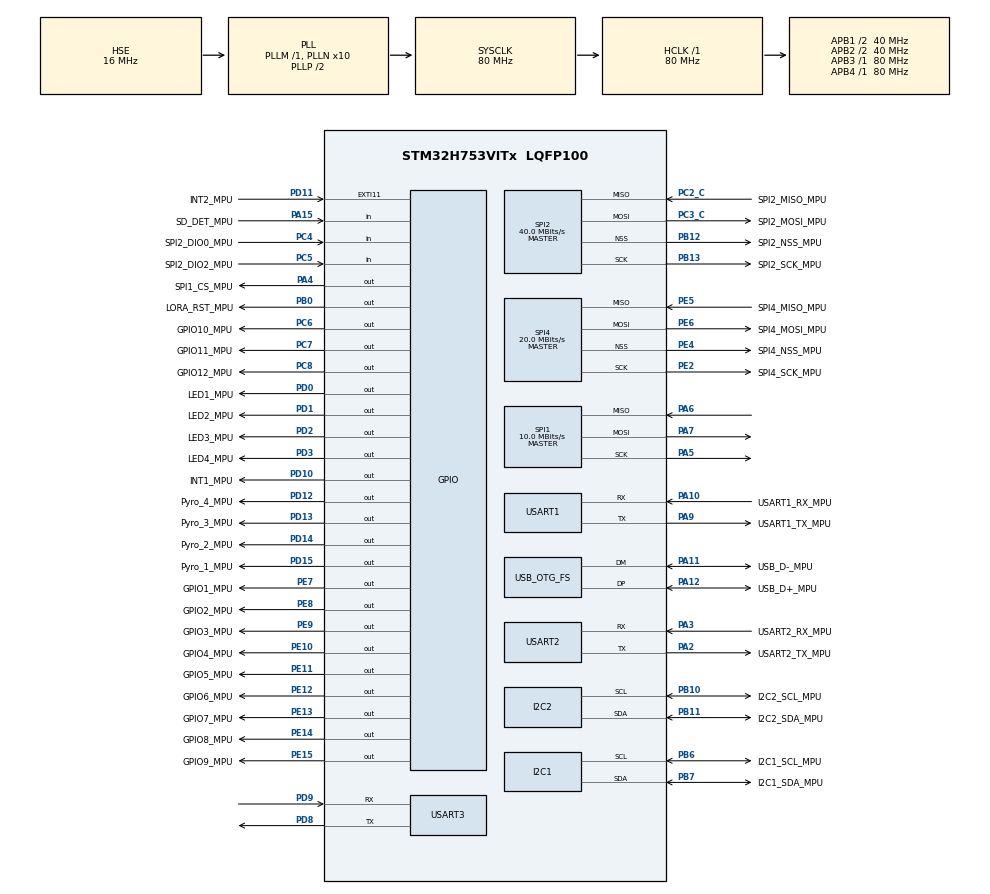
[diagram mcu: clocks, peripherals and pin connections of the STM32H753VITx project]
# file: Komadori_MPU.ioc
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CORTEX_M7.default_mode_Activation=1
I2C1.Timing=0x00909BEB
I2C2.Timing=0x00909BEB
Mcu.Family=STM32H7
Mcu.Name=STM32H753VITx
Mcu.Package=LQFP100
NVIC.OTG_FS_IRQn=true\:0\:0\:false\:false\:true\:false\:true\:true
NVIC.PriorityGroup=NVIC_PRIORITYGROUP_4
PA10.GPIO_Label=USART1_RX_MPU
PA10.Mode=Asynchronous
PA10.Signal=USART1_RX
PA11.GPIO_Label=USB_D-_MPU
PA11.Mode=Device_Only
PA11.Signal=USB_OTG_FS_DM
PA12.GPIO_Label=USB_D+_MPU
PA12.Mode=Device_Only
PA12.Signal=USB_OTG_FS_DP
PA13\ (JTMS/SWDIO).GPIO_Label=SWDIO_MPU
PA13\ (JTMS/SWDIO).Mode=Serial_Wire
PA13\ (JTMS/SWDIO).Signal=DEBUG_JTMS-SWDIO
PA14\ (JTCK/SWCLK).GPIO_Label=SWCLK_MPU
PA14\ (JTCK/SWCLK).Mode=Serial_Wire
PA14\ (JTCK/SWCLK).Signal=DEBUG_JTCK-SWCLK
PA15\ (JTDI).GPIO_Label=SD_DET_MPU
PA15\ (JTDI).Signal=GPIO_Input
PA2.GPIO_Label=USART2_TX_MPU
PA2.Mode=Asynchronous
PA2.Signal=USART2_TX
PA3.GPIO_Label=USART2_RX_MPU
PA3.Mode=Asynchronous
PA3.Signal=USART2_RX
PA4.GPIO_Label=SPI1_CS_MPU
PA4.PinState=GPIO_PIN_SET
PA4.Signal=GPIO_Output
PA5.GPIO_Mode=GPIO_MODE_AF_PP
PA5.GPIO_PuPd=GPIO_NOPULL
PA5.GPIO_Speed=GPIO_SPEED_FREQ_LOW
PA5.Mode=Full_Duplex_Master
PA5.Signal=SPI1_SCK
PA6.GPIO_Mode=GPIO_MODE_AF_PP
PA6.GPIO_PuPd=GPIO_NOPULL
PA6.GPIO_Speed=GPIO_SPEED_FREQ_LOW
PA6.Mode=Full_Duplex_Master
PA6.Signal=SPI1_MISO
PA7.GPIO_Mode=GPIO_MODE_AF_PP
PA7.GPIO_PuPd=GPIO_NOPULL
PA7.GPIO_Speed=GPIO_SPEED_FREQ_LOW
PA7.Mode=Full_Duplex_Master
PA7.Signal=SPI1_MOSI
PA9.GPIO_Label=USART1_TX_MPU
PA9.Mode=Asynchronous
PA9.Signal=USART1_TX
PB0.GPIO_Label=LORA_RST_MPU
PB0.Signal=GPIO_Output
PB10.GPIO_Label=I2C2_SCL_MPU
PB10.Mode=I2C
PB10.Signal=I2C2_SCL
PB11.GPIO_Label=I2C2_SDA_MPU
PB11.Mode=I2C
PB11.Signal=I2C2_SDA
PB12.GPIO_Label=SPI2_NSS_MPU
PB12.Mode=NSS_Signal_Hard_Output
PB12.Signal=SPI2_NSS
PB13.GPIO_Label=SPI2_SCK_MPU
PB13.Mode=Full_Duplex_Master
PB13.Signal=SPI2_SCK
PB6.GPIO_Label=I2C1_SCL_MPU
PB6.Mode=I2C
PB6.Signal=I2C1_SCL
PB7.GPIO_Label=I2C1_SDA_MPU
PB7.Mode=I2C
PB7.Signal=I2C1_SDA
PC2_C.GPIO_Label=SPI2_MISO_MPU
PC2_C.Mode=Full_Duplex_Master
PC2_C.Signal=SPI2_MISO
PC3_C.GPIO_Label=SPI2_MOSI_MPU
PC3_C.Mode=Full_Duplex_Master
PC3_C.Signal=SPI2_MOSI
PC4.GPIO_Label=SPI2_DIO0_MPU
PC4.Signal=GPIO_Input
PC5.GPIO_Label=SPI2_DIO2_MPU
PC5.Signal=GPIO_Input
PC6.GPIO_Label=GPIO10_MPU
PC6.Signal=GPIO_Output
PC7.GPIO_Label=GPIO11_MPU
PC7.Signal=GPIO_Output
PC8.GPIO_Label=GPIO12_MPU
PC8.Signal=GPIO_Output
PD0.GPIO_Label=LED1_MPU
PD0.Signal=GPIO_Output
PD1.GPIO_Label=LED2_MPU
PD1.Signal=GPIO_Output
PD10.GPIO_Label=INT1_MPU
PD10.Signal=GPIO_Output
PD11.GPIO_Label=INT2_MPU
PD11.Signal=GPXTI11
PD12.GPIO_Label=Pyro_4_MPU
PD12.Signal=GPIO_Output
PD13.GPIO_Label=Pyro_3_MPU
PD13.Signal=GPIO_Output
PD14.GPIO_Label=Pyro_2_MPU
PD14.Signal=GPIO_Output
PD15.GPIO_Label=Pyro_1_MPU
PD15.Signal=GPIO_Output
PD2.GPIO_Label=LED3_MPU
PD2.Signal=GPIO_Output
PD3.GPIO_Label=LED4_MPU
PD3.Signal=GPIO_Output
PD8.Mode=Asynchronous
PD8.Signal=USART3_TX
PD9.Mode=Asynchronous
PD9.Signal=USART3_RX
PE10.GPIO_Label=GPIO4_MPU
PE10.Signal=GPIO_Output
PE11.GPIO_Label=GPIO5_MPU
PE11.Signal=GPIO_Output
PE12.GPIO_Label=GPIO6_MPU
PE12.Signal=GPIO_Output
PE13.GPIO_Label=GPIO7_MPU
PE13.Signal=GPIO_Output
PE14.GPIO_Label=GPIO8_MPU
PE14.Signal=GPIO_Output
PE15.GPIO_Label=GPIO9_MPU
PE15.Signal=GPIO_Output
PE2.GPIO_Label=SPI4_SCK_MPU
PE2.Mode=Full_Duplex_Master
PE2.Signal=SPI4_SCK
PE4.GPIO_Label=SPI4_NSS_MPU
PE4.Mode=NSS_Signal_Hard_Output
PE4.Signal=SPI4_NSS
PE5.GPIO_Label=SPI4_MISO_MPU
PE5.Mode=Full_Duplex_Master
PE5.Signal=SPI4_MISO
PE6.GPIO_Label=SPI4_MOSI_MPU
PE6.Mode=Full_Duplex_Master
PE6.Signal=SPI4_MOSI
PE7.GPIO_Label=GPIO1_MPU
PE7.Signal=GPIO_Output
PE8.GPIO_Label=GPIO2_MPU
PE8.Signal=GPIO_Output
PE9.GPIO_Label=GPIO3_MPU
PE9.Signal=GPIO_Output
PH0-OSC_IN\ (PH0).GPIO_Label=HSE_IN_MPU
PH0-OSC_IN\ (PH0).Mode=HSE-External-Oscillator
PH0-OSC_IN\ (PH0).Signal=RCC_OSC_IN
PH1-OSC_OUT\ (PH1).GPIO_Label=HSE_OUT_MPU
PH1-OSC_OUT\ (PH1).Mode=HSE-External-Oscillator
PH1-OSC_OUT\ (PH1).Signal=RCC_OSC_OUT
ProjectManager.HeapSize=0x200
ProjectManager.StackSize=0x400
ProjectManager.TargetToolchain=STM32CubeIDE
RCC.ADCFreq_Value=32250000
RCC.APB1Freq_Value=40000000
RCC.APB2Freq_Value=40000000
RCC.APB3Freq_Value=80000000
RCC.APB4Freq_Value=80000000
RCC.CortexFreq_Value=80000000
RCC.D2PPRE1=RCC_APB1_DIV2
RCC.D2PPRE2=RCC_APB2_DIV2
RCC.DIVM1=1
RCC.DIVM3=1
RCC.DIVN1=10
RCC.DIVN3=30
RCC.DIVQ3=10
RCC.HCLKFreq_Value=80000000
RCC.HSE_VALUE=16000000
RCC.PLL2FRACN=0
RCC.PLL3FRACN=0
RCC.PLLFRACN=0
RCC.RCC_RTC_Clock_Source_FROM_HSE=RCC_RTCCLKSOURCE_HSE_DIV25
RCC.RTCClockSelection=RCC_RTCCLKSOURCE_HSE_DIV25
RCC.SYSCLKFreq_VALUE=80000000
RCC.SYSCLKSource=RCC_SYSCLKSOURCE_PLLCLK
RCC.USBCLockSelection=RCC_USBCLKSOURCE_PLL3
RCC.USBFreq_Value=48000000
SPI1.BaudRatePrescaler=SPI_BAUDRATEPRESCALER_8
SPI1.CalculateBaudRate=10.0 MBits/s
SPI1.DataSize=SPI_DATASIZE_8BIT
SPI1.Direction=SPI_DIRECTION_2LINES
SPI1.Mode=SPI_MODE_MASTER
SPI1.NSSPMode=SPI_NSS_PULSE_DISABLE
SPI1.VirtualType=VM_MASTER
SPI2.CalculateBaudRate=40.0 MBits/s
SPI2.Direction=SPI_DIRECTION_2LINES
SPI2.Mode=SPI_MODE_MASTER
SPI2.VirtualNSS=VM_NSSHARD
SPI2.VirtualType=VM_MASTER
SPI4.CalculateBaudRate=20.0 MBits/s
SPI4.Direction=SPI_DIRECTION_2LINES
SPI4.Mode=SPI_MODE_MASTER
SPI4.VirtualNSS=VM_NSSHARD
SPI4.VirtualType=VM_MASTER
USART1.VirtualMode-Asynchronous=VM_ASYNC
USART2.VirtualMode-Asynchronous=VM_ASYNC
USART3.VirtualMode-Asynchronous=VM_ASYNC
USB_DEVICE.CLASS_NAME_FS=CDC
USB_DEVICE.VirtualMode-CDC_FS=Cdc
USB_DEVICE.VirtualModeFS=Cdc_FS
USB_OTG_FS.VirtualMode=Device_Only
VP_MEMORYMAP_VS_MEMORYMAP.Mode=CurAppReg
VP_RTC_VS_RTC_Activate.Mode=RTC_Enabled
VP_USB_DEVICE_VS_USB_DEVICE_CDC_FS.Mode=CDC_FS
board=custom

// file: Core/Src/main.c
/* USER CODE BEGIN Header */
/**
  ******************************************************************************
  * @file           : main.c
  * @brief          : Main program body
  ******************************************************************************
  * @attention
  *
  * Copyright (c) 2025 STMicroelectronics.
  * All rights reserved.
  *
  * This software is licensed under terms that can be found in the LICENSE file
  * in the root directory of this software component.
  * If no LICENSE file comes with this software, it is provided AS-IS.
  *
  ******************************************************************************
  */
/* USER CODE END Header */
#include "main.h"
#include "usb_device.h"

/* USER CODE BEGIN Includes */

#include "PCA9685.h"

#include "W25X0XGV.h"

#include "rfm95.h"

#include "usbd_cdc_if.h"
#include <stdio.h>
/* USER CODE END Includes */

/* USER CODE BEGIN PTD */

/* ============================================================
 *  Inter-chip protocol — NAV → MPU state packet.
 *  This struct MUST be byte-identical to the NAV side.
 *  See ALBERT_FlightComp/Core/Src/main.c for the canonical layout.
 * ============================================================ */
typedef struct __attribute__((packed)) {
    uint8_t  sync1;        /*  0   LINK_SYNC1          */
    uint8_t  sync2;        /*  1   LINK_SYNC2          */
    uint8_t  type;         /*  2   LINK_TYPE_STATE     */
    uint8_t  seq;          /*  3   rolling counter     */
    uint8_t  flags;        /*  4   bit0 = att_init, bit1 = mag_ref */
    uint8_t  reserved;     /*  5   keep total at 32    */
    float    phi;          /*  6   rad                 */
    float    theta;        /* 10   rad                 */
    float    psi;          /* 14   rad                 */
    float    p;            /* 18   rad/s (bias-corrected) */
    float    q;            /* 22                       */
    float    r;            /* 26                       */
    uint16_t crc;          /* 30   CRC-16/CCITT-FALSE  */
} link_state_t;
/* Compile-time size check (C89-portable; fails to compile with a
 * "negative size array" error if the struct is ever the wrong size). */
typedef char link_state_size_check[sizeof(link_state_t) == 32 ? 1 : -1];

/* USER CODE END PTD */

/* USER CODE BEGIN PD */

#define W25N01GV_STORAGE_PAGE_SIZ	W25X0XGV_MAX_COLUMN	// 2048 bytes per page

#define LINK_PACKET_LEN   32        /* must equal sizeof(link_state_t)        */
#define LINK_SYNC1        0xA1
#define LINK_SYNC2        0xB5
#define LINK_TYPE_STATE   0x01

#define LINK_FLAG_ATT_INIT   (1u << 0)
#define LINK_FLAG_MAG_REF    (1u << 1)

/* If no fresh state packet arrives within this many ms, the control law
 * should disengage and command neutral.  100 Hz nominal → 50 ms = miss
 * up to 5 packets before we consider the NAV silent. */
#define LINK_STATE_STALE_MS  50

#define USB_BUFLEN  160

/* USER CODE END PD */

I2C_HandleTypeDef hi2c1;
I2C_HandleTypeDef hi2c2;

RTC_HandleTypeDef hrtc;

SPI_HandleTypeDef hspi1;
SPI_HandleTypeDef hspi2;
SPI_HandleTypeDef hspi4;

UART_HandleTypeDef huart1;
UART_HandleTypeDef huart2;
UART_HandleTypeDef huart3;

/* USER CODE BEGIN PV */
PCA9685 servos;

/* =====================================================================
 *  Inter-chip UART link (MPU side)
 * =====================================================================
 *  MPU --INT1_MPU(out)--> INT1_NAV(EXTI rising) :  MPU is sending
 *  NAV --INT2_NAV(out)--> INT2_MPU(EXTI rising) :  NAV is sending
 *
 *  32-byte state packet (link_state_t).  Defined in PTD.
 * ===================================================================== */

uint8_t  link_rx_buf[LINK_PACKET_LEN];
volatile uint8_t nav_rx_ready  = 0;     /* set by HAL_UART_RxCpltCallback */
volatile uint8_t link_tx_busy  = 0;     /* gates mpu_send_packet re-entry */

/* Latest validated NAV → MPU state.  Updated by app_handle_link_rx()
 * after sync/CRC pass.  Read by app_run_control(). */
link_state_t  latest_state;
uint32_t      latest_state_ms     = 0;  /* HAL_GetTick() when populated   */
uint32_t      link_rx_pkts_ok     = 0;  /* good packets received          */
uint32_t      link_rx_pkts_drop   = 0;  /* sync or CRC failures           */
uint8_t       link_state_fresh    = 0;  /* set on every successful update */

/* USB telemetry buffer (mirror of NAV) */
uint8_t  usbTxBuf[USB_BUFLEN];
uint16_t usbTxBufLen;

/* USER CODE END PV */

void SystemClock_Config(void);
static void MPU_Config(void);
static void MX_GPIO_Init(void);
static void MX_I2C1_Init(void);
static void MX_I2C2_Init(void);
static void MX_USART1_UART_Init(void);
static void MX_SPI1_Init(void);
static void MX_SPI2_Init(void);
static void MX_USART2_UART_Init(void);
static void MX_SPI4_Init(void);
static void MX_USART3_UART_Init(void);
static void MX_RTC_Init(void);
/* USER CODE BEGIN PFP */

/* Main-loop helpers */
static void app_init_payload(void);
static void app_servo_show(void);
static void app_handle_link_rx(void);
static void app_run_control(void);
static void app_emit_telemetry(void);

/* Public TX entry — pulses INT1_MPU then starts a non-blocking UART TX */
HAL_StatusTypeDef mpu_send_packet(const uint8_t *buf, uint16_t n);

/* CRC-16/CCITT-FALSE (poly 0x1021, init 0xFFFF) */
static uint16_t crc16_ccitt(const uint8_t *data, uint16_t len);

/* USER CODE END PFP */

/* USER CODE BEGIN 0 */

uint8_t tx_buff[]={0,1,2,3,4,5,6,7,8,9};

/* ---------------------------------------------------------------------
 *  app_init_payload
 *  Brings up the servo driver, the on-board NAND flash, and (later)
 *  the RFM95 LoRa modem.  Kept separate from main() so the boot
 *  sequence is one line: app_init_payload().
 * ------------------------------------------------------------------ */
static void app_init_payload(void)
{
    /* PWM driver — neutral pulse on all four channels */
    PCA9685_Init(&servos, &hi2c2, 330);
    for (uint8_t ch = 0; ch < 4; ch++) PCA9685_SetMicros(&servos, ch, 0);
    HAL_Delay(1000);

    /* Arm motors (1500 µs centre + 500 µs idle on the others)         */
    PCA9685_SetMicros(&servos, 0, 1500);
    PCA9685_SetMicros(&servos, 1, 1500);
    PCA9685_SetMicros(&servos, 2, 1500);
    PCA9685_SetMicros(&servos, 3, 1500);
    HAL_Delay(1000);

    /* NAND flash — erase block holding page 0 so logging starts clean */
    W25X0XGV_begin();
    W25X0XGV_block_erase(0);

    /* Pyro 2 default state (kept from original boot sequence)         */
    HAL_GPIO_WritePin(Pyro_1_MPU_GPIO_Port, Pyro_1_MPU_Pin, GPIO_PIN_SET);
    HAL_GPIO_WritePin(Pyro_2_MPU_GPIO_Port, Pyro_2_MPU_Pin, GPIO_PIN_SET);
    HAL_GPIO_WritePin(Pyro_3_MPU_GPIO_Port, Pyro_3_MPU_Pin, GPIO_PIN_SET);
    HAL_GPIO_WritePin(Pyro_4_MPU_GPIO_Port, Pyro_4_MPU_Pin, GPIO_PIN_SET);

    /* RFM95 — disabled until the radio is on the to-do list.  The
     * struct is left visible to the rest of the file via PV section
     * if needed; nothing in the main loop depends on it today. */
}

/* ---------------------------------------------------------------------
 *  Servo helpers used by the boot-time self-test "show".
 *  Smooth ramps via small µs steps + short HAL_Delay slices so the
 *  fins move at a visible, deliberate rate (not a snap).
 * ------------------------------------------------------------------ */
static void servo_ramp_one(uint8_t ch, int from_us, int to_us)
{
    const int step = (to_us > from_us) ? 10 : -10;
    int us = from_us;
    while ((step > 0 && us <= to_us) || (step < 0 && us >= to_us)) {
        PCA9685_SetMicros(&servos, ch, (uint16_t)us);
        HAL_Delay(5);                 /* 50 steps × 5 ms = 250 ms per 500 µs leg */
        us += step;
    }
    PCA9685_SetMicros(&servos, ch, (uint16_t)to_us);
}

static void servo_ramp_pair(uint8_t ch_pos, uint8_t ch_neg,
                            int from_us, int to_us)
{
    /* ch_pos sweeps from_us → to_us;  ch_neg mirrors about 1500 µs. */
    const int step = (to_us > from_us) ? 10 : -10;
    int us = from_us;
    while ((step > 0 && us <= to_us) || (step < 0 && us >= to_us)) {
        PCA9685_SetMicros(&servos, ch_pos, (uint16_t)us);
        PCA9685_SetMicros(&servos, ch_neg, (uint16_t)(3000 - us)); /* mirror */
        HAL_Delay(5);
        us += step;
    }
    PCA9685_SetMicros(&servos, ch_pos, (uint16_t)to_us);
    PCA9685_SetMicros(&servos, ch_neg, (uint16_t)(3000 - to_us));
}

static void servos_all_neutral(void)
{
    for (uint8_t ch = 0; ch < 4; ch++)
        PCA9685_SetMicros(&servos, ch, 1500);
}

/* ---------------------------------------------------------------------
 *  app_servo_show
 *  One-shot boot-time fin exercise.  Roughly 12 seconds total.
 *
 *    Act 1  (≈6 s) — each channel ramps neutral → max → min → neutral,
 *                    in turn.  Visual confirmation of wiring per fin.
 *    Act 2  (≈2 s) — pitch pair (0 ↑, 2 ↓) full sweep then back.
 *    Act 3  (≈2 s) — yaw   pair (1 ↑, 3 ↓) full sweep then back.
 *    Act 4  (≈2 s) — "wave": each fin in sequence flicks +max then back.
 *    Finale          — all four to neutral, brief hold.
 *
 *  Blocking by design.  Called once from main() before the loop starts.
 *  The NAV's INT2_MPU edges that arrive during the show will still
 *  rearm RX via the EXTI ISR, so no inbound packets are lost.
 * ------------------------------------------------------------------ */
static void app_servo_show(void)
{
    servos_all_neutral();
    HAL_Delay(500);

    /* ---- Act 1: each channel, alone ---------------------------------- */
    for (uint8_t ch = 0; ch < 4; ch++) {
        servo_ramp_one(ch, 1500, 2000);
        servo_ramp_one(ch, 2000, 1000);
        servo_ramp_one(ch, 1000, 1500);
        HAL_Delay(150);
    }

    /* ---- Act 2: pitch pair (mirrored) -------------------------------- */
    servo_ramp_pair(0, 2, 1500, 2000);
    servo_ramp_pair(0, 2, 2000, 1000);
    servo_ramp_pair(0, 2, 1000, 1500);
    HAL_Delay(250);

    /* ---- Act 3: yaw pair (mirrored) ---------------------------------- */
    servo_ramp_pair(1, 3, 1500, 2000);
    servo_ramp_pair(1, 3, 2000, 1000);
    servo_ramp_pair(1, 3, 1000, 1500);
    HAL_Delay(250);

    /* ---- Act 4: a quick "wave" round the cluster --------------------- */
    for (uint8_t ch = 0; ch < 4; ch++) {
        servo_ramp_one(ch, 1500, 1900);
        servo_ramp_one(ch, 1900, 1500);
    }

    /* ---- Finale: lock everything at neutral and hold ----------------- */
    servos_all_neutral();
    HAL_Delay(500);
}

/* ---------------------------------------------------------------------
 *  mpu_send_packet
 *  Pulses INT1_MPU and starts an interrupt-driven UART1 transmit.
 *  NAV's EXTI on INT1_NAV arms its RX before the first byte lands.
 * ------------------------------------------------------------------ */
HAL_StatusTypeDef mpu_send_packet(const uint8_t *buf, uint16_t n)
{
    if (link_tx_busy)                        return HAL_BUSY;
    if (n != LINK_PACKET_LEN || buf == NULL) return HAL_ERROR;

    link_tx_busy = 1;

    HAL_GPIO_WritePin(INT1_MPU_GPIO_Port, INT1_MPU_Pin, GPIO_PIN_SET);
    /* ~1 µs settle — ISR latency on NAV is well under one UART byte time */
    for (volatile int i = 0; i < 32; i++) __NOP();
    HAL_GPIO_WritePin(INT1_MPU_GPIO_Port, INT1_MPU_Pin, GPIO_PIN_RESET);

    /* HAL_UART_Transmit_IT takes a non-const pointer — cast away const.
     * Safe: HAL only reads from the buffer during the transfer. */
    HAL_StatusTypeDef st = HAL_UART_Transmit_IT(&huart1,
                                                (uint8_t *)buf, n);
    if (st != HAL_OK) link_tx_busy = 0;
    return st;
}

/* ---------------------------------------------------------------------
 *  CRC-16 / CCITT-FALSE  —  must match the NAV-side implementation.
 * ------------------------------------------------------------------ */
static uint16_t crc16_ccitt(const uint8_t *data, uint16_t len)
{
    uint16_t crc = 0xFFFF;
    while (len--) {
        crc ^= (uint16_t)(*data++) << 8;
        for (int i = 0; i < 8; i++)
            crc = (crc & 0x8000) ? (uint16_t)((crc << 1) ^ 0x1021)
                                 : (uint16_t)(crc << 1);
    }
    return crc;
}

/* ---------------------------------------------------------------------
 *  app_handle_link_rx
 *  Drain a completed NAV→MPU packet, validate sync + CRC, and copy
 *  the payload into latest_state.  A garbled packet bumps the drop
 *  counter; a valid one bumps the ok counter and refreshes the timer.
 * ------------------------------------------------------------------ */
static void app_handle_link_rx(void)
{
    if (!nav_rx_ready) return;
    nav_rx_ready = 0;

    /* Re-arm RX first so we never miss the next packet while parsing. */
    if (huart1.RxState == HAL_UART_STATE_READY) {
        HAL_UART_Receive_IT(&huart1, link_rx_buf, LINK_PACKET_LEN);
    }

    /* Sync check — cheap reject before the CRC math. */
    if (link_rx_buf[0] != LINK_SYNC1 ||
        link_rx_buf[1] != LINK_SYNC2 ||
        link_rx_buf[2] != LINK_TYPE_STATE)
    {
        link_rx_pkts_drop++;
        return;
    }

    /* CRC over everything except the trailing two CRC bytes themselves */
    const uint16_t crc_calc = crc16_ccitt(link_rx_buf, LINK_PACKET_LEN - 2);
    const uint16_t crc_rx   = (uint16_t)link_rx_buf[LINK_PACKET_LEN - 2]
                            | ((uint16_t)link_rx_buf[LINK_PACKET_LEN - 1] << 8);
    if (crc_calc != crc_rx) {
        link_rx_pkts_drop++;
        return;
    }

    /* Looks good — overlay the struct on the buffer. */
    const link_state_t *pkt = (const link_state_t *)link_rx_buf;
    latest_state      = *pkt;
    latest_state_ms   = HAL_GetTick();
    link_state_fresh  = 1;
    link_rx_pkts_ok++;
}

/* ---------------------------------------------------------------------
 *  Control-law gains and limits (tune on the bench, NOT in flight)
 *  --------------------------------------------------------------------
 *  Target: pitch (theta) and yaw (psi) both → 0.  Phi (roll about the
 *  long axis) is intentionally not controlled here — it's either left
 *  passively damped by the fins, or handled by a separate roll loop
 *  later (delta_r on differential fin deflection).
 *
 *  Sign convention (from RocketModel.c):
 *     Cm  = ... + Cm_delta * delta_eta   → δ_η ↑ pitches up   (θ↑)
 *     Cn  = ... + Cn_delta * delta_zeta  → δ_ζ ↑ yaws right   (ψ↑)
 *  So to bring θ back to 0 when θ>0, we need δ_η<0 → gain is negative. */
#define CTRL_KP_THETA          (-3.0f)   /* δ_η  per rad of θ  [rad/rad] */
#define CTRL_KP_PSI            (-3.0f)   /* δ_ζ  per rad of ψ  [rad/rad] */

/* Mechanical fin deflection limit, radians.  ±20° ≈ ±0.35 rad. */
#define CTRL_DELTA_MAX_RAD     (0.35f)

/* Servo mapping: 1500 µs = neutral.  500 µs ↔ CTRL_DELTA_MAX_RAD. */
#define CTRL_SERVO_NEUTRAL_US  (1500)
#define CTRL_SERVO_US_PER_RAD  (500.0f / CTRL_DELTA_MAX_RAD)   /* ≈1428 */
#define CTRL_SERVO_MIN_US      (1000)
#define CTRL_SERVO_MAX_US      (2000)

static inline float clampf(float v, float lo, float hi)
{
    return v < lo ? lo : (v > hi ? hi : v);
}

static inline uint16_t fin_us(float delta_rad)
{
    delta_rad = clampf(delta_rad, -CTRL_DELTA_MAX_RAD, CTRL_DELTA_MAX_RAD);
    float us = (float)CTRL_SERVO_NEUTRAL_US + delta_rad * CTRL_SERVO_US_PER_RAD;
    if (us < CTRL_SERVO_MIN_US) us = CTRL_SERVO_MIN_US;
    if (us > CTRL_SERVO_MAX_US) us = CTRL_SERVO_MAX_US;
    return (uint16_t)us;
}

/* ---------------------------------------------------------------------
 *  app_run_control
 *  Pitch + yaw P-controller.  Reads theta, psi from latest_state;
 *  drives the four fins via the PCA9685.  Disengages and commands
 *  neutral if the NAV link is stale or the EKF hasn't initialised.
 *
 *  Fin assignment (assumes "+" config — adjust signs if your fins
 *  are mounted in an "X" arrangement):
 *     channel 0 →  +δ_η   (pitch fin, top)
 *     channel 2 →  −δ_η   (pitch fin, bottom)
 *     channel 1 →  +δ_ζ   (yaw   fin, right)
 *     channel 3 →  −δ_ζ   (yaw   fin, left)
 * ------------------------------------------------------------------ */
static void app_run_control(void)
{
    const uint8_t link_alive =
        link_rx_pkts_ok > 0 &&
        (HAL_GetTick() - latest_state_ms) < LINK_STATE_STALE_MS;

    const uint8_t att_ready =
        (latest_state.flags & LINK_FLAG_ATT_INIT) != 0;

    if (!link_alive || !att_ready) {
        /* Failsafe — neutral pulse on all fin channels */
        PCA9685_SetMicros(&servos, 0, CTRL_SERVO_NEUTRAL_US);
        PCA9685_SetMicros(&servos, 1, CTRL_SERVO_NEUTRAL_US);
        PCA9685_SetMicros(&servos, 2, CTRL_SERVO_NEUTRAL_US);
        PCA9685_SetMicros(&servos, 3, CTRL_SERVO_NEUTRAL_US);
        return;
    }

    /* --- error: target attitude is θ = 0, ψ = 0 ---------------------- */
    const float err_theta = 0.0f - latest_state.theta;
    const float err_psi   = 0.0f - latest_state.psi;

    /* --- P-control on each angle ------------------------------------- */
    const float delta_eta  = CTRL_KP_THETA * err_theta;   /* pitch fin command */
    const float delta_zeta = CTRL_KP_PSI   * err_psi;     /* yaw   fin command */

    /* --- Map to four-fin "+" output (mirrored opposing pair) --------- */
    PCA9685_SetMicros(&servos, 0, fin_us(+delta_eta));
    PCA9685_SetMicros(&servos, 2, fin_us(-delta_eta));
    PCA9685_SetMicros(&servos, 1, fin_us(+delta_zeta));
    PCA9685_SetMicros(&servos, 3, fin_us(-delta_zeta));

    link_state_fresh = 0;   /* consumed */
}

/* ---------------------------------------------------------------------
 *  Float-format helpers (no float printf required)
 *  --------------------------------------------------------------------
 *  This project builds without "-u _printf_float", so %f is unavailable.
 *  These helpers reconstruct a "%.2f"-style string from a value scaled
 *  ×1000 (milli-units), e.g. 12345 → "12.35" (rounded half-up away
 *  from zero, matching what printf would produce).
 *
 *  Wrap-to-180 helper folds an angle expressed in milli-degrees into
 *  the (−180000, +180000] range — same range a human expects from a
 *  compass / attitude readout.
 * ------------------------------------------------------------------ */
static long wrap_mdeg_180(long mdeg)
{
    while (mdeg >   180000L) mdeg -= 360000L;
    while (mdeg <= -180000L) mdeg += 360000L;
    return mdeg;
}

static int fmt_milli_2dp(char *out, int outsz, long milli)
{
    /* round to nearest centi-unit (×100) */
    long centi;
    if (milli >= 0) centi = (milli + 5) / 10;
    else            centi = (milli - 5) / 10;

    const long abs_c = centi < 0 ? -centi : centi;
    const long whole = abs_c / 100;
    const long frac  = abs_c % 100;
    const char *sign = (centi < 0) ? "-" : "";

    return snprintf(out, outsz, "%s%ld.%02ld", sign, whole, frac);
}

/* ---------------------------------------------------------------------
 *  app_emit_telemetry  —  10 Hz USB-CDC dump of the last NAV packet.
 *
 *  Format mirrors the NAV's "$ALB" frame: degrees / deg-per-sec with
 *  two decimal places.  Angles wrap to (−180°, +180°].
 *
 *    $MPU,phi,theta,psi,p,q,r,seq,flags,age_ms,ok,drop\r\n
 * ------------------------------------------------------------------ */
static void app_emit_telemetry(void)
{
    static uint32_t last_ms = 0;
    if (HAL_GetTick() - last_ms < 100) return;
    last_ms = HAL_GetTick();

    /* rad → milli-degrees: 180/pi * 1000 = 57295.7795 */
    const float k = 57295.7795f;

    const long phi_mdeg   = wrap_mdeg_180((long)(latest_state.phi   * k));
    const long theta_mdeg = wrap_mdeg_180((long)(latest_state.theta * k));
    const long psi_mdeg   = wrap_mdeg_180((long)(latest_state.psi   * k));
    const long p_mdps     = (long)(latest_state.p * k);   /* rates aren't wrapped */
    const long q_mdps     = (long)(latest_state.q * k);
    const long r_mdps     = (long)(latest_state.r * k);

    char s_phi[12], s_theta[12], s_psi[12], s_p[12], s_q[12], s_r[12];
    fmt_milli_2dp(s_phi,   sizeof(s_phi),   phi_mdeg);
    fmt_milli_2dp(s_theta, sizeof(s_theta), theta_mdeg);
    fmt_milli_2dp(s_psi,   sizeof(s_psi),   psi_mdeg);
    fmt_milli_2dp(s_p,     sizeof(s_p),     p_mdps);
    fmt_milli_2dp(s_q,     sizeof(s_q),     q_mdps);
    fmt_milli_2dp(s_r,     sizeof(s_r),     r_mdps);

    const uint32_t age_ms = HAL_GetTick() - latest_state_ms;

    usbTxBufLen = snprintf((char*)usbTxBuf, USB_BUFLEN,
        "$MPU,%s,%s,%s,%s,%s,%s,%u,0x%02X,%lu,%lu,%lu\r\n",
        s_phi, s_theta, s_psi,
        s_p,   s_q,     s_r,
        (unsigned)latest_state.seq,
        (unsigned)latest_state.flags,
        (unsigned long)age_ms,
        (unsigned long)link_rx_pkts_ok,
        (unsigned long)link_rx_pkts_drop);
    CDC_Transmit_FS(usbTxBuf, usbTxBufLen);
}

/* USER CODE END 0 */

int main(void)
{

  /* MPU Configuration--------------------------------------------------------*/
  MPU_Config();

  /* MCU Configuration--------------------------------------------------------*/

  /* Reset of all peripherals, Initializes the Flash interface and the Systick. */
  HAL_Init();

  /* Configure the system clock */
  SystemClock_Config();

  /* Initialize all configured peripherals */
  MX_GPIO_Init();
  MX_I2C1_Init();
  MX_I2C2_Init();
  MX_USART1_UART_Init();
  MX_SPI1_Init();
  MX_SPI2_Init();
  MX_USART2_UART_Init();
  MX_SPI4_Init();
  MX_USART3_UART_Init();
  MX_RTC_Init();
  MX_USB_DEVICE_Init();
  /* USER CODE BEGIN 2 */

  app_init_payload();        /* PCA9685 servos, NAND flash, Pyro defaults */
  app_servo_show();          /* ~12 s boot-time fin exercise               */

  /* Defensive initial RX arm — even before the very first INT2_MPU edge
   * the MPU is ready to catch a NAV-initiated packet. */
  HAL_UART_Receive_IT(&huart1, link_rx_buf, LINK_PACKET_LEN);

  /* USER CODE END 2 */

  /* Infinite loop */
  /* USER CODE BEGIN WHILE */
  while (1)
  {
      app_handle_link_rx();     /* validate + decode NAV→MPU state packet */
      app_run_control();        /* fin control law (placeholder)          */
      app_emit_telemetry();     /* 10 Hz USB telemetry: $MPU frame        */
    /* USER CODE END WHILE */

  }
}

void SystemClock_Config(void)
{
  RCC_OscInitTypeDef RCC_OscInitStruct = {0};
  RCC_ClkInitTypeDef RCC_ClkInitStruct = {0};

  /** Supply configuration update enable
  */
  HAL_PWREx_ConfigSupply(PWR_LDO_SUPPLY);

  /** Configure the main internal regulator output voltage
  */
  __HAL_PWR_VOLTAGESCALING_CONFIG(PWR_REGULATOR_VOLTAGE_SCALE3);

  while(!__HAL_PWR_GET_FLAG(PWR_FLAG_VOSRDY)) {}

  /** Initializes the RCC Oscillators according to the specified parameters
  * in the RCC_OscInitTypeDef structure.
  */
  RCC_OscInitStruct.OscillatorType = RCC_OSCILLATORTYPE_HSE;
  RCC_OscInitStruct.HSEState = RCC_HSE_ON;
  RCC_OscInitStruct.PLL.PLLState = RCC_PLL_ON;
  RCC_OscInitStruct.PLL.PLLSource = RCC_PLLSOURCE_HSE;
  RCC_OscInitStruct.PLL.PLLM = 1;
  RCC_OscInitStruct.PLL.PLLN = 10;
  RCC_OscInitStruct.PLL.PLLP = 2;
  RCC_OscInitStruct.PLL.PLLQ = 2;
  RCC_OscInitStruct.PLL.PLLR = 2;
  RCC_OscInitStruct.PLL.PLLRGE = RCC_PLL1VCIRANGE_3;
  RCC_OscInitStruct.PLL.PLLVCOSEL = RCC_PLL1VCOMEDIUM;
  RCC_OscInitStruct.PLL.PLLFRACN = 0;
  if (HAL_RCC_OscConfig(&RCC_OscInitStruct) != HAL_OK)
  {
    Error_Handler();
  }

  /** Initializes the CPU, AHB and APB buses clocks
  */
  RCC_ClkInitStruct.ClockType = RCC_CLOCKTYPE_HCLK|RCC_CLOCKTYPE_SYSCLK
                              |RCC_CLOCKTYPE_PCLK1|RCC_CLOCKTYPE_PCLK2
                              |RCC_CLOCKTYPE_D3PCLK1|RCC_CLOCKTYPE_D1PCLK1;
  RCC_ClkInitStruct.SYSCLKSource = RCC_SYSCLKSOURCE_PLLCLK;
  RCC_ClkInitStruct.SYSCLKDivider = RCC_SYSCLK_DIV1;
  RCC_ClkInitStruct.AHBCLKDivider = RCC_HCLK_DIV1;
  RCC_ClkInitStruct.APB3CLKDivider = RCC_APB3_DIV1;
  RCC_ClkInitStruct.APB1CLKDivider = RCC_APB1_DIV2;
  RCC_ClkInitStruct.APB2CLKDivider = RCC_APB2_DIV2;
  RCC_ClkInitStruct.APB4CLKDivider = RCC_APB4_DIV1;

  if (HAL_RCC_ClockConfig(&RCC_ClkInitStruct, FLASH_LATENCY_1) != HAL_OK)
  {
    Error_Handler();
  }
}

static void MX_I2C1_Init(void)
{

  hi2c1.Instance = I2C1;
  hi2c1.Init.Timing = 0x00909BEB;
  hi2c1.Init.OwnAddress1 = 0;
  hi2c1.Init.AddressingMode = I2C_ADDRESSINGMODE_7BIT;
  hi2c1.Init.DualAddressMode = I2C_DUALADDRESS_DISABLE;
  hi2c1.Init.OwnAddress2 = 0;
  hi2c1.Init.OwnAddress2Masks = I2C_OA2_NOMASK;
  hi2c1.Init.GeneralCallMode = I2C_GENERALCALL_DISABLE;
  hi2c1.Init.NoStretchMode = I2C_NOSTRETCH_DISABLE;
  if (HAL_I2C_Init(&hi2c1) != HAL_OK)
  {
    Error_Handler();
  }

  /** Configure Analogue filter
  */
  if (HAL_I2CEx_ConfigAnalogFilter(&hi2c1, I2C_ANALOGFILTER_ENABLE) != HAL_OK)
  {
    Error_Handler();
  }

  /** Configure Digital filter
  */
  if (HAL_I2CEx_ConfigDigitalFilter(&hi2c1, 0) != HAL_OK)
  {
    Error_Handler();
  }

}

static void MX_I2C2_Init(void)
{

  hi2c2.Instance = I2C2;
  hi2c2.Init.Timing = 0x00909BEB;
  hi2c2.Init.OwnAddress1 = 0;
  hi2c2.Init.AddressingMode = I2C_ADDRESSINGMODE_7BIT;
  hi2c2.Init.DualAddressMode = I2C_DUALADDRESS_DISABLE;
  hi2c2.Init.OwnAddress2 = 0;
  hi2c2.Init.OwnAddress2Masks = I2C_OA2_NOMASK;
  hi2c2.Init.GeneralCallMode = I2C_GENERALCALL_DISABLE;
  hi2c2.Init.NoStretchMode = I2C_NOSTRETCH_DISABLE;
  if (HAL_I2C_Init(&hi2c2) != HAL_OK)
  {
    Error_Handler();
  }

  /** Configure Analogue filter
  */
  if (HAL_I2CEx_ConfigAnalogFilter(&hi2c2, I2C_ANALOGFILTER_ENABLE) != HAL_OK)
  {
    Error_Handler();
  }

  /** Configure Digital filter
  */
  if (HAL_I2CEx_ConfigDigitalFilter(&hi2c2, 0) != HAL_OK)
  {
    Error_Handler();
  }

}

static void MX_RTC_Init(void)
{

  /** Initialize RTC Only
  */
  hrtc.Instance = RTC;
  hrtc.Init.HourFormat = RTC_HOURFORMAT_24;
  hrtc.Init.AsynchPrediv = 127;
  hrtc.Init.SynchPrediv = 255;
  hrtc.Init.OutPut = RTC_OUTPUT_DISABLE;
  hrtc.Init.OutPutPolarity = RTC_OUTPUT_POLARITY_HIGH;
  hrtc.Init.OutPutType = RTC_OUTPUT_TYPE_OPENDRAIN;
  hrtc.Init.OutPutRemap = RTC_OUTPUT_REMAP_NONE;
  if (HAL_RTC_Init(&hrtc) != HAL_OK)
  {
    Error_Handler();
  }

}

static void MX_SPI1_Init(void)
{

  /* SPI1 parameter configuration*/
  hspi1.Instance = SPI1;
  hspi1.Init.Mode = SPI_MODE_MASTER;
  hspi1.Init.Direction = SPI_DIRECTION_2LINES;
  hspi1.Init.DataSize = SPI_DATASIZE_8BIT;
  hspi1.Init.CLKPolarity = SPI_POLARITY_LOW;
  hspi1.Init.CLKPhase = SPI_PHASE_1EDGE;
  hspi1.Init.NSS = SPI_NSS_SOFT;
  hspi1.Init.BaudRatePrescaler = SPI_BAUDRATEPRESCALER_8;
  hspi1.Init.FirstBit = SPI_FIRSTBIT_MSB;
  hspi1.Init.TIMode = SPI_TIMODE_DISABLE;
  hspi1.Init.CRCCalculation = SPI_CRCCALCULATION_DISABLE;
  hspi1.Init.CRCPolynomial = 0x0;
  hspi1.Init.NSSPMode = SPI_NSS_PULSE_DISABLE;
  hspi1.Init.NSSPolarity = SPI_NSS_POLARITY_LOW;
  hspi1.Init.FifoThreshold = SPI_FIFO_THRESHOLD_01DATA;
  hspi1.Init.TxCRCInitializationPattern = SPI_CRC_INITIALIZATION_ALL_ZERO_PATTERN;
  hspi1.Init.RxCRCInitializationPattern = SPI_CRC_INITIALIZATION_ALL_ZERO_PATTERN;
  hspi1.Init.MasterSSIdleness = SPI_MASTER_SS_IDLENESS_00CYCLE;
  hspi1.Init.MasterInterDataIdleness = SPI_MASTER_INTERDATA_IDLENESS_00CYCLE;
  hspi1.Init.MasterReceiverAutoSusp = SPI_MASTER_RX_AUTOSUSP_DISABLE;
  hspi1.Init.MasterKeepIOState = SPI_MASTER_KEEP_IO_STATE_DISABLE;
  hspi1.Init.IOSwap = SPI_IO_SWAP_DISABLE;
  if (HAL_SPI_Init(&hspi1) != HAL_OK)
  {
    Error_Handler();
  }

}

static void MX_SPI2_Init(void)
{

  /* SPI2 parameter configuration*/
  hspi2.Instance = SPI2;
  hspi2.Init.Mode = SPI_MODE_MASTER;
  hspi2.Init.Direction = SPI_DIRECTION_2LINES;
  hspi2.Init.DataSize = SPI_DATASIZE_4BIT;
  hspi2.Init.CLKPolarity = SPI_POLARITY_LOW;
  hspi2.Init.CLKPhase = SPI_PHASE_1EDGE;
  hspi2.Init.NSS = SPI_NSS_HARD_OUTPUT;
  hspi2.Init.BaudRatePrescaler = SPI_BAUDRATEPRESCALER_2;
  hspi2.Init.FirstBit = SPI_FIRSTBIT_MSB;
  hspi2.Init.TIMode = SPI_TIMODE_DISABLE;
  hspi2.Init.CRCCalculation = SPI_CRCCALCULATION_DISABLE;
  hspi2.Init.CRCPolynomial = 0x0;
  hspi2.Init.NSSPMode = SPI_NSS_PULSE_ENABLE;
  hspi2.Init.NSSPolarity = SPI_NSS_POLARITY_LOW;
  hspi2.Init.FifoThreshold = SPI_FIFO_THRESHOLD_01DATA;
  hspi2.Init.TxCRCInitializationPattern = SPI_CRC_INITIALIZATION_ALL_ZERO_PATTERN;
  hspi2.Init.RxCRCInitializationPattern = SPI_CRC_INITIALIZATION_ALL_ZERO_PATTERN;
  hspi2.Init.MasterSSIdleness = SPI_MASTER_SS_IDLENESS_00CYCLE;
  hspi2.Init.MasterInterDataIdleness = SPI_MASTER_INTERDATA_IDLENESS_00CYCLE;
  hspi2.Init.MasterReceiverAutoSusp = SPI_MASTER_RX_AUTOSUSP_DISABLE;
  hspi2.Init.MasterKeepIOState = SPI_MASTER_KEEP_IO_STATE_DISABLE;
  hspi2.Init.IOSwap = SPI_IO_SWAP_DISABLE;
  if (HAL_SPI_Init(&hspi2) != HAL_OK)
  {
    Error_Handler();
  }

}

static void MX_SPI4_Init(void)
{

  /* SPI4 parameter configuration*/
  hspi4.Instance = SPI4;
  hspi4.Init.Mode = SPI_MODE_MASTER;
  hspi4.Init.Direction = SPI_DIRECTION_2LINES;
  hspi4.Init.DataSize = SPI_DATASIZE_4BIT;
  hspi4.Init.CLKPolarity = SPI_POLARITY_LOW;
  hspi4.Init.CLKPhase = SPI_PHASE_1EDGE;
  hspi4.Init.NSS = SPI_NSS_HARD_OUTPUT;
  hspi4.Init.BaudRatePrescaler = SPI_BAUDRATEPRESCALER_2;
  hspi4.Init.FirstBit = SPI_FIRSTBIT_MSB;
  hspi4.Init.TIMode = SPI_TIMODE_DISABLE;
  hspi4.Init.CRCCalculation = SPI_CRCCALCULATION_DISABLE;
  hspi4.Init.CRCPolynomial = 0x0;
  hspi4.Init.NSSPMode = SPI_NSS_PULSE_ENABLE;
  hspi4.Init.NSSPolarity = SPI_NSS_POLARITY_LOW;
  hspi4.Init.FifoThreshold = SPI_FIFO_THRESHOLD_01DATA;
  hspi4.Init.TxCRCInitializationPattern = SPI_CRC_INITIALIZATION_ALL_ZERO_PATTERN;
  hspi4.Init.RxCRCInitializationPattern = SPI_CRC_INITIALIZATION_ALL_ZERO_PATTERN;
  hspi4.Init.MasterSSIdleness = SPI_MASTER_SS_IDLENESS_00CYCLE;
  hspi4.Init.MasterInterDataIdleness = SPI_MASTER_INTERDATA_IDLENESS_00CYCLE;
  hspi4.Init.MasterReceiverAutoSusp = SPI_MASTER_RX_AUTOSUSP_DISABLE;
  hspi4.Init.MasterKeepIOState = SPI_MASTER_KEEP_IO_STATE_DISABLE;
  hspi4.Init.IOSwap = SPI_IO_SWAP_DISABLE;
  if (HAL_SPI_Init(&hspi4) != HAL_OK)
  {
    Error_Handler();
  }

}

static void MX_USART1_UART_Init(void)
{

  huart1.Instance = USART1;
  huart1.Init.BaudRate = 115200;
  huart1.Init.WordLength = UART_WORDLENGTH_8B;
  huart1.Init.StopBits = UART_STOPBITS_1;
  huart1.Init.Parity = UART_PARITY_NONE;
  huart1.Init.Mode = UART_MODE_TX_RX;
  huart1.Init.HwFlowCtl = UART_HWCONTROL_NONE;
  huart1.Init.OverSampling = UART_OVERSAMPLING_16;
  huart1.Init.OneBitSampling = UART_ONE_BIT_SAMPLE_DISABLE;
  huart1.Init.ClockPrescaler = UART_PRESCALER_DIV1;
  huart1.AdvancedInit.AdvFeatureInit = UART_ADVFEATURE_NO_INIT;
  if (HAL_UART_Init(&huart1) != HAL_OK)
  {
    Error_Handler();
  }
  if (HAL_UARTEx_SetTxFifoThreshold(&huart1, UART_TXFIFO_THRESHOLD_1_8) != HAL_OK)
  {
    Error_Handler();
  }
  if (HAL_UARTEx_SetRxFifoThreshold(&huart1, UART_RXFIFO_THRESHOLD_1_8) != HAL_OK)
  {
    Error_Handler();
  }
  if (HAL_UARTEx_DisableFifoMode(&huart1) != HAL_OK)
  {
    Error_Handler();
  }

}

static void MX_USART2_UART_Init(void)
{

  huart2.Instance = USART2;
  huart2.Init.BaudRate = 115200;
  huart2.Init.WordLength = UART_WORDLENGTH_8B;
  huart2.Init.StopBits = UART_STOPBITS_1;
  huart2.Init.Parity = UART_PARITY_NONE;
  huart2.Init.Mode = UART_MODE_TX_RX;
  huart2.Init.HwFlowCtl = UART_HWCONTROL_NONE;
  huart2.Init.OverSampling = UART_OVERSAMPLING_16;
  huart2.Init.OneBitSampling = UART_ONE_BIT_SAMPLE_DISABLE;
  huart2.Init.ClockPrescaler = UART_PRESCALER_DIV1;
  huart2.AdvancedInit.AdvFeatureInit = UART_ADVFEATURE_NO_INIT;
  if (HAL_UART_Init(&huart2) != HAL_OK)
  {
    Error_Handler();
  }
  if (HAL_UARTEx_SetTxFifoThreshold(&huart2, UART_TXFIFO_THRESHOLD_1_8) != HAL_OK)
  {
    Error_Handler();
  }
  if (HAL_UARTEx_SetRxFifoThreshold(&huart2, UART_RXFIFO_THRESHOLD_1_8) != HAL_OK)
  {
    Error_Handler();
  }
  if (HAL_UARTEx_DisableFifoMode(&huart2) != HAL_OK)
  {
    Error_Handler();
  }

}

static void MX_USART3_UART_Init(void)
{

  huart3.Instance = USART3;
  huart3.Init.BaudRate = 115200;
  huart3.Init.WordLength = UART_WORDLENGTH_8B;
  huart3.Init.StopBits = UART_STOPBITS_1;
  huart3.Init.Parity = UART_PARITY_NONE;
  huart3.Init.Mode = UART_MODE_TX_RX;
  huart3.Init.HwFlowCtl = UART_HWCONTROL_NONE;
  huart3.Init.OverSampling = UART_OVERSAMPLING_16;
  huart3.Init.OneBitSampling = UART_ONE_BIT_SAMPLE_DISABLE;
  huart3.Init.ClockPrescaler = UART_PRESCALER_DIV1;
  huart3.AdvancedInit.AdvFeatureInit = UART_ADVFEATURE_NO_INIT;
  if (HAL_UART_Init(&huart3) != HAL_OK)
  {
    Error_Handler();
  }
  if (HAL_UARTEx_SetTxFifoThreshold(&huart3, UART_TXFIFO_THRESHOLD_1_8) != HAL_OK)
  {
    Error_Handler();
  }
  if (HAL_UARTEx_SetRxFifoThreshold(&huart3, UART_RXFIFO_THRESHOLD_1_8) != HAL_OK)
  {
    Error_Handler();
  }
  if (HAL_UARTEx_DisableFifoMode(&huart3) != HAL_OK)
  {
    Error_Handler();
  }

}

static void MX_GPIO_Init(void)
{
  GPIO_InitTypeDef GPIO_InitStruct = {0};

  /* GPIO Ports Clock Enable */
  __HAL_RCC_GPIOE_CLK_ENABLE();
  __HAL_RCC_GPIOH_CLK_ENABLE();
  __HAL_RCC_GPIOC_CLK_ENABLE();
  __HAL_RCC_GPIOA_CLK_ENABLE();
  __HAL_RCC_GPIOB_CLK_ENABLE();
  __HAL_RCC_GPIOD_CLK_ENABLE();

  /*Configure GPIO pin Output Level */
  HAL_GPIO_WritePin(SPI1_CS_MPU_GPIO_Port, SPI1_CS_MPU_Pin, GPIO_PIN_SET);

  /*Configure GPIO pin Output Level */
  HAL_GPIO_WritePin(LORA_RST_MPU_GPIO_Port, LORA_RST_MPU_Pin, GPIO_PIN_RESET);

  /*Configure GPIO pin Output Level */
  HAL_GPIO_WritePin(GPIOE, GPIO1_MPU_Pin|GPIO2_MPU_Pin|GPIO3_MPU_Pin|GPIO4_MPU_Pin
                          |GPIO5_MPU_Pin|GPIO6_MPU_Pin|GPIO7_MPU_Pin|GPIO8_MPU_Pin
                          |GPIO9_MPU_Pin, GPIO_PIN_RESET);

  /*Configure GPIO pin Output Level */
  HAL_GPIO_WritePin(GPIOD, INT1_MPU_Pin|Pyro_4_MPU_Pin|Pyro_3_MPU_Pin|Pyro_2_MPU_Pin
                          |Pyro_1_MPU_Pin|LED1_MPU_Pin|LED2_MPU_Pin|LED3_MPU_Pin
                          |LED4_MPU_Pin, GPIO_PIN_RESET);

  /*Configure GPIO pin Output Level */
  HAL_GPIO_WritePin(GPIOC, GPIO10_MPU_Pin|GPIO11_MPU_Pin|GPIO12_MPU_Pin, GPIO_PIN_RESET);

  /*Configure GPIO pin : SPI1_CS_MPU_Pin */
  GPIO_InitStruct.Pin = SPI1_CS_MPU_Pin;
  GPIO_InitStruct.Mode = GPIO_MODE_OUTPUT_PP;
  GPIO_InitStruct.Pull = GPIO_NOPULL;
  GPIO_InitStruct.Speed = GPIO_SPEED_FREQ_LOW;
  HAL_GPIO_Init(SPI1_CS_MPU_GPIO_Port, &GPIO_InitStruct);

  /*Configure GPIO pins : SPI2_DIO0_MPU_Pin SPI2_DIO2_MPU_Pin */
  GPIO_InitStruct.Pin = SPI2_DIO0_MPU_Pin|SPI2_DIO2_MPU_Pin;
  GPIO_InitStruct.Mode = GPIO_MODE_INPUT;
  GPIO_InitStruct.Pull = GPIO_NOPULL;
  HAL_GPIO_Init(GPIOC, &GPIO_InitStruct);

  /*Configure GPIO pin : LORA_RST_MPU_Pin */
  GPIO_InitStruct.Pin = LORA_RST_MPU_Pin;
  GPIO_InitStruct.Mode = GPIO_MODE_OUTPUT_PP;
  GPIO_InitStruct.Pull = GPIO_NOPULL;
  GPIO_InitStruct.Speed = GPIO_SPEED_FREQ_LOW;
  HAL_GPIO_Init(LORA_RST_MPU_GPIO_Port, &GPIO_InitStruct);

  /*Configure GPIO pins : GPIO1_MPU_Pin GPIO2_MPU_Pin GPIO3_MPU_Pin GPIO4_MPU_Pin
                           GPIO5_MPU_Pin GPIO6_MPU_Pin GPIO7_MPU_Pin GPIO8_MPU_Pin
                           GPIO9_MPU_Pin */
  GPIO_InitStruct.Pin = GPIO1_MPU_Pin|GPIO2_MPU_Pin|GPIO3_MPU_Pin|GPIO4_MPU_Pin
                          |GPIO5_MPU_Pin|GPIO6_MPU_Pin|GPIO7_MPU_Pin|GPIO8_MPU_Pin
                          |GPIO9_MPU_Pin;
  GPIO_InitStruct.Mode = GPIO_MODE_OUTPUT_PP;
  GPIO_InitStruct.Pull = GPIO_NOPULL;
  GPIO_InitStruct.Speed = GPIO_SPEED_FREQ_LOW;
  HAL_GPIO_Init(GPIOE, &GPIO_InitStruct);

  /*Configure GPIO pins : INT1_MPU_Pin Pyro_4_MPU_Pin Pyro_3_MPU_Pin Pyro_2_MPU_Pin
                           Pyro_1_MPU_Pin LED1_MPU_Pin LED2_MPU_Pin LED3_MPU_Pin
                           LED4_MPU_Pin */
  GPIO_InitStruct.Pin = INT1_MPU_Pin|Pyro_4_MPU_Pin|Pyro_3_MPU_Pin|Pyro_2_MPU_Pin
                          |Pyro_1_MPU_Pin|LED1_MPU_Pin|LED2_MPU_Pin|LED3_MPU_Pin
                          |LED4_MPU_Pin;
  GPIO_InitStruct.Mode = GPIO_MODE_OUTPUT_PP;
  GPIO_InitStruct.Pull = GPIO_NOPULL;
  GPIO_InitStruct.Speed = GPIO_SPEED_FREQ_LOW;
  HAL_GPIO_Init(GPIOD, &GPIO_InitStruct);

  /*Configure GPIO pin : INT2_MPU_Pin */
  GPIO_InitStruct.Pin = INT2_MPU_Pin;
  GPIO_InitStruct.Mode = GPIO_MODE_IT_RISING;
  GPIO_InitStruct.Pull = GPIO_NOPULL;
  HAL_GPIO_Init(INT2_MPU_GPIO_Port, &GPIO_InitStruct);

  /*Configure GPIO pins : GPIO10_MPU_Pin GPIO11_MPU_Pin GPIO12_MPU_Pin */
  GPIO_InitStruct.Pin = GPIO10_MPU_Pin|GPIO11_MPU_Pin|GPIO12_MPU_Pin;
  GPIO_InitStruct.Mode = GPIO_MODE_OUTPUT_PP;
  GPIO_InitStruct.Pull = GPIO_NOPULL;
  GPIO_InitStruct.Speed = GPIO_SPEED_FREQ_LOW;
  HAL_GPIO_Init(GPIOC, &GPIO_InitStruct);

  /*Configure GPIO pin : SD_DET_MPU_Pin */
  GPIO_InitStruct.Pin = SD_DET_MPU_Pin;
  GPIO_InitStruct.Mode = GPIO_MODE_INPUT;
  GPIO_InitStruct.Pull = GPIO_NOPULL;
  HAL_GPIO_Init(SD_DET_MPU_GPIO_Port, &GPIO_InitStruct);

  /* USER CODE BEGIN MX_GPIO_Init_2 */
  /* EXTI15_10 covers INT2_MPU (PD11) — fires when NAV pulses INT2_NAV.
   * No CubeMX-generated NVIC enable lives here, so we add it ourselves. */
  HAL_NVIC_SetPriority(EXTI15_10_IRQn, 5, 0);
  HAL_NVIC_EnableIRQ  (EXTI15_10_IRQn);

  /* USART1 IRQ — required for HAL_UART_Receive_IT / _Transmit_IT */
  HAL_NVIC_SetPriority(USART1_IRQn, 5, 0);
  HAL_NVIC_EnableIRQ  (USART1_IRQn);
  /* USER CODE END MX_GPIO_Init_2 */
}

/* USER CODE BEGIN 4 */

/* ---------------------------------------------------------------------
 *  HAL EXTI dispatcher — only handles INT2_MPU (the NAV→MPU "I'm
 *  sending" line).  Other EXTI sources on this board don't have any
 *  attached behaviour yet.
 * ------------------------------------------------------------------ */
void HAL_GPIO_EXTI_Callback(uint16_t GPIO_Pin)
{
    if (GPIO_Pin == INT2_MPU_Pin) {
        if (huart1.RxState == HAL_UART_STATE_READY) {
            HAL_UART_Receive_IT(&huart1, link_rx_buf, LINK_PACKET_LEN);
        }
    }
}

/* HAL UART completion callbacks — both raise main-loop flags only. */
void HAL_UART_RxCpltCallback(UART_HandleTypeDef *h)
{
    if (h->Instance == USART1) {
        nav_rx_ready = 1;
    }
}

void HAL_UART_TxCpltCallback(UART_HandleTypeDef *h)
{
    if (h->Instance == USART1) {
        link_tx_busy = 0;
    }
}

/* ---------------------------------------------------------------------
 *  EXTI15_10_IRQHandler — PD11 (INT2_MPU) sits on EXTI11.  The
 *  CubeMX-generated stm32h7xx_it.c does not contain a handler for it,
 *  so we define a strong override here and forward to the HAL.
 * ------------------------------------------------------------------ */
void EXTI15_10_IRQHandler(void)
{
    HAL_GPIO_EXTI_IRQHandler(INT2_MPU_Pin);
}

/* ---------------------------------------------------------------------
 *  USART1_IRQHandler — required for the HAL's _IT and _DMA UART paths.
 * ------------------------------------------------------------------ */
void USART1_IRQHandler(void)
{
    HAL_UART_IRQHandler(&huart1);
}

/* USER CODE END 4 */

 /* MPU Configuration */

void MPU_Config(void)
{
  MPU_Region_InitTypeDef MPU_InitStruct = {0};

  /* Disables the MPU */
  HAL_MPU_Disable();

  /** Initializes and configures the Region and the memory to be protected
  */
  MPU_InitStruct.Enable = MPU_REGION_ENABLE;
  MPU_InitStruct.Number = MPU_REGION_NUMBER0;
  MPU_InitStruct.BaseAddress = 0x0;
  MPU_InitStruct.Size = MPU_REGION_SIZE_4GB;
  MPU_InitStruct.SubRegionDisable = 0x87;
  MPU_InitStruct.TypeExtField = MPU_TEX_LEVEL0;
  MPU_InitStruct.AccessPermission = MPU_REGION_NO_ACCESS;
  MPU_InitStruct.DisableExec = MPU_INSTRUCTION_ACCESS_DISABLE;
  MPU_InitStruct.IsShareable = MPU_ACCESS_SHAREABLE;
  MPU_InitStruct.IsCacheable = MPU_ACCESS_NOT_CACHEABLE;
  MPU_InitStruct.IsBufferable = MPU_ACCESS_NOT_BUFFERABLE;

  HAL_MPU_ConfigRegion(&MPU_InitStruct);
  /* Enables the MPU */
  HAL_MPU_Enable(MPU_PRIVILEGED_DEFAULT);

}

void Error_Handler(void)
{
  __disable_irq();
  while (1)
  {
  }
}
